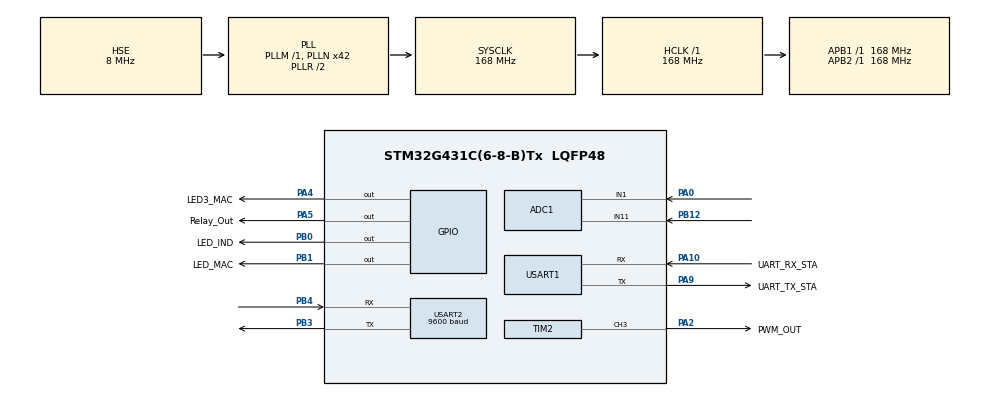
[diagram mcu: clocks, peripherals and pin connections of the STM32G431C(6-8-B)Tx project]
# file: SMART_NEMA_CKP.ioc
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ADC1.Channel-0\#ChannelRegularConversion=ADC_CHANNEL_1
ADC1.Channel-1\#ChannelRegularConversion=ADC_CHANNEL_11
ADC1.NbrOfConversion=2
ADC1.NbrOfConversionFlag=1
ADC1.OffsetNumber-0\#ChannelRegularConversion=ADC_OFFSET_NONE
ADC1.OffsetNumber-1\#ChannelRegularConversion=ADC_OFFSET_NONE
ADC1.Rank-0\#ChannelRegularConversion=1
ADC1.Rank-1\#ChannelRegularConversion=2
ADC1.SamplingTime-0\#ChannelRegularConversion=ADC_SAMPLETIME_47CYCLES_5
ADC1.SamplingTime-1\#ChannelRegularConversion=ADC_SAMPLETIME_92CYCLES_5
ADC1.master=1
Mcu.Family=STM32G4
Mcu.Name=STM32G431C(6-8-B)Tx
Mcu.Package=LQFP48
NVIC.PriorityGroup=NVIC_PRIORITYGROUP_4
NVIC.USART1_IRQn=true\:0\:0\:false\:false\:true\:true\:true\:true
NVIC.USART2_IRQn=true\:0\:0\:false\:false\:true\:true\:true\:true
PA0.Mode=IN1-Single-Ended
PA0.Signal=ADC1_IN1
PA10.GPIO_Label=UART_RX_STA
PA10.Mode=Asynchronous
PA10.Signal=USART1_RX
PA13.Mode=Serial_Wire
PA13.Signal=SYS_JTMS-SWDIO
PA14.Mode=Serial_Wire
PA14.Signal=SYS_JTCK-SWCLK
PA2.GPIO_Label=PWM_OUT
PA2.Signal=S_TIM2_CH3
PA4.GPIO_Label=LED3_MAC
PA4.Signal=GPIO_Output
PA5.GPIO_Label=Relay_Out
PA5.Signal=GPIO_Output
PA9.GPIO_Label=UART_TX_STA
PA9.Mode=Asynchronous
PA9.Signal=USART1_TX
PB0.GPIO_Label=LED_IND
PB0.Signal=GPIO_Output
PB1.GPIO_Label=LED_MAC
PB1.Signal=GPIO_Output
PB12.Mode=IN11-Single-Ended
PB12.Signal=ADC1_IN11
PB3.Mode=Asynchronous
PB3.Signal=USART2_TX
PB4.Mode=Asynchronous
PB4.Signal=USART2_RX
PF0-OSC_IN.Mode=HSE-External-Oscillator
PF0-OSC_IN.Signal=RCC_OSC_IN
PF1-OSC_OUT.Mode=HSE-External-Oscillator
PF1-OSC_OUT.Signal=RCC_OSC_OUT
ProjectManager.HeapSize=0x200
ProjectManager.StackSize=0x400
ProjectManager.TargetToolchain=STM32CubeIDE
RCC.ADC12Freq_Value=168000000
RCC.AHBFreq_Value=168000000
RCC.APB1Freq_Value=168000000
RCC.APB1TimFreq_Value=168000000
RCC.APB2Freq_Value=168000000
RCC.APB2TimFreq_Value=168000000
RCC.CortexFreq_Value=168000000
RCC.EXTERNAL_CLOCK_VALUE=12288000
RCC.HCLKFreq_Value=168000000
RCC.HSE_VALUE=8000000
RCC.HSI48_VALUE=48000000
RCC.HSI_VALUE=16000000
RCC.LSE_VALUE=32768
RCC.PLLN=42
RCC.PLLSourceVirtual=RCC_PLLSOURCE_HSE
RCC.SYSCLKFreq_VALUE=168000000
RCC.SYSCLKSource=RCC_SYSCLKSOURCE_PLLCLK
RCC.USBFreq_Value=168000000
RCC.VCOOutputFreq_Value=336000000
SH.S_TIM2_CH3.0=TIM2_CH3,PWM Generation3 CH3
TIM2.Channel-PWM\ Generation3\ CH3=TIM_CHANNEL_3
TIM2.PeriodNoDither=15999
USART1.Parity=PARITY_EVEN
USART1.VirtualMode-Asynchronous=VM_ASYNC
USART1.WordLength=WORDLENGTH_9B
USART2.BaudRate=9600
USART2.Parity=PARITY_NONE
USART2.VirtualMode-Asynchronous=VM_ASYNC
VP_SYS_VS_DBSignals.Mode=DisableDeadBatterySignals
VP_TIM2_VS_ClockSourceINT.Mode=Internal
board=custom

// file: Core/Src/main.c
/* USER CODE BEGIN Header */
/**
  ******************************************************************************
  * @file           : main.c
  * @brief          : Main program body
  ******************************************************************************
  * @attention
  *
  * Copyright (c) 2026 STMicroelectronics.
  * All rights reserved.
  *
  * This software is licensed under terms that can be found in the LICENSE file
  * in the root directory of this software component.
  * If no LICENSE file comes with this software, it is provided AS-IS.
  *
  ******************************************************************************
  */
/* USER CODE END Header */
#include "main.h"

/* USER CODE BEGIN Includes */
#include "function.h"
#include <string.h>
#include "stdint.h"
#include "stdio.h"
#include "stdbool.h"
/* USER CODE END Includes */

ADC_HandleTypeDef hadc1;

TIM_HandleTypeDef htim2;

UART_HandleTypeDef huart1;
UART_HandleTypeDef huart2;

void SystemClock_Config(void);
static void MX_GPIO_Init(void);
static void MX_USART2_UART_Init(void);
static void MX_USART1_UART_Init(void);
static void MX_TIM2_Init(void);
static void MX_ADC1_Init(void);

int main(void)
{

  /* MCU Configuration--------------------------------------------------------*/

  /* Reset of all peripherals, Initializes the Flash interface and the Systick. */
  HAL_Init();

  /* Configure the system clock */
  SystemClock_Config();

  /* Initialize all configured peripherals */
  MX_GPIO_Init();
  MX_USART2_UART_Init();
  MX_USART1_UART_Init();
  MX_TIM2_Init();
  MX_ADC1_Init();
  /* USER CODE BEGIN 2 */
  UART_ConfigurePriorities();
  HAL_TIM_PWM_Start(&htim2, TIM_CHANNEL_3);
  UART1_StartUart();
  UART_GPS_Init();
  HAL_ADCEx_Calibration_Start(&hadc1, ADC_SINGLE_ENDED);
  HAL_Delay(10);
  blinkLED(LED3_MAC_Port, LED3_MAC_Pin, 3, 200);
  HAL_Delay(1500);
  CT_CalculateOffset();  // dipindah ke sini agar C3 10uF sudah settle (~2.7s setelah boot)
  UART_STA_SendRaw("+++");
  HAL_Delay(2000);
  bool mac_status_cco = Get_CCO_Mac();  // Coba 3x
    if (mac_status_cco) {
        // Berhasil dapat MAC
    	bool mac_status = Save_Mac();
    	if (mac_status){
            HAL_GPIO_TogglePin(LED3_MAC_Port, LED3_MAC_Pin);
            HAL_Delay(100);
    	} else {
            // Gagal dapat MAC setelah 3x percobaan
            blinkLED(LED_IND_Port, LED_IND_Pin, 3, 100);
        }
    } else {
        // Gagal dapat MAC setelah 3x percobaan
    	bool mac_status = Save_Mac();
        blinkLED(LED_IND_Port, LED_IND_Pin, 3, 100);
    }
  HAL_Delay(300);
  /* USER CODE END 2 */

  /* Infinite loop */
  /* USER CODE BEGIN WHILE */
  while (1)
  {
	  ProcessRecv();
      Set_PWM1_Duty(dutytest);
      GPS_ProcessData(true);
//      VAC_Read();
      Sensor_ReadAll();
      Sensor_Update();
    /* USER CODE END WHILE */

  }
}

void SystemClock_Config(void)
{
  RCC_OscInitTypeDef RCC_OscInitStruct = {0};
  RCC_ClkInitTypeDef RCC_ClkInitStruct = {0};

  /** Configure the main internal regulator output voltage
  */
  HAL_PWREx_ControlVoltageScaling(PWR_REGULATOR_VOLTAGE_SCALE1_BOOST);

  /** Initializes the RCC Oscillators according to the specified parameters
  * in the RCC_OscInitTypeDef structure.
  */
  RCC_OscInitStruct.OscillatorType = RCC_OSCILLATORTYPE_HSE;
  RCC_OscInitStruct.HSEState = RCC_HSE_ON;
  RCC_OscInitStruct.PLL.PLLState = RCC_PLL_ON;
  RCC_OscInitStruct.PLL.PLLSource = RCC_PLLSOURCE_HSE;
  RCC_OscInitStruct.PLL.PLLM = RCC_PLLM_DIV1;
  RCC_OscInitStruct.PLL.PLLN = 42;
  RCC_OscInitStruct.PLL.PLLP = RCC_PLLP_DIV2;
  RCC_OscInitStruct.PLL.PLLQ = RCC_PLLQ_DIV2;
  RCC_OscInitStruct.PLL.PLLR = RCC_PLLR_DIV2;
  if (HAL_RCC_OscConfig(&RCC_OscInitStruct) != HAL_OK)
  {
    Error_Handler();
  }

  /** Initializes the CPU, AHB and APB buses clocks
  */
  RCC_ClkInitStruct.ClockType = RCC_CLOCKTYPE_HCLK|RCC_CLOCKTYPE_SYSCLK
                              |RCC_CLOCKTYPE_PCLK1|RCC_CLOCKTYPE_PCLK2;
  RCC_ClkInitStruct.SYSCLKSource = RCC_SYSCLKSOURCE_PLLCLK;
  RCC_ClkInitStruct.AHBCLKDivider = RCC_SYSCLK_DIV1;
  RCC_ClkInitStruct.APB1CLKDivider = RCC_HCLK_DIV1;
  RCC_ClkInitStruct.APB2CLKDivider = RCC_HCLK_DIV1;

  if (HAL_RCC_ClockConfig(&RCC_ClkInitStruct, FLASH_LATENCY_4) != HAL_OK)
  {
    Error_Handler();
  }
}

static void MX_ADC1_Init(void)
{

  ADC_MultiModeTypeDef multimode = {0};
  ADC_ChannelConfTypeDef sConfig = {0};

  /** Common config
  */
  hadc1.Instance = ADC1;
  hadc1.Init.ClockPrescaler = ADC_CLOCK_SYNC_PCLK_DIV4;
  hadc1.Init.Resolution = ADC_RESOLUTION_12B;
  hadc1.Init.DataAlign = ADC_DATAALIGN_RIGHT;
  hadc1.Init.GainCompensation = 0;
  hadc1.Init.ScanConvMode = ADC_SCAN_ENABLE;
  hadc1.Init.EOCSelection = ADC_EOC_SINGLE_CONV;
  hadc1.Init.LowPowerAutoWait = DISABLE;
  hadc1.Init.ContinuousConvMode = DISABLE;
  hadc1.Init.NbrOfConversion = 2;
  hadc1.Init.DiscontinuousConvMode = DISABLE;
  hadc1.Init.ExternalTrigConv = ADC_SOFTWARE_START;
  hadc1.Init.ExternalTrigConvEdge = ADC_EXTERNALTRIGCONVEDGE_NONE;
  hadc1.Init.DMAContinuousRequests = DISABLE;
  hadc1.Init.Overrun = ADC_OVR_DATA_PRESERVED;
  hadc1.Init.OversamplingMode = DISABLE;
  if (HAL_ADC_Init(&hadc1) != HAL_OK)
  {
    Error_Handler();
  }

  /** Configure the ADC multi-mode
  */
  multimode.Mode = ADC_MODE_INDEPENDENT;
  if (HAL_ADCEx_MultiModeConfigChannel(&hadc1, &multimode) != HAL_OK)
  {
    Error_Handler();
  }

  /** Configure Regular Channel
  */
  sConfig.Channel = ADC_CHANNEL_1;
  sConfig.Rank = ADC_REGULAR_RANK_1;
  sConfig.SamplingTime = ADC_SAMPLETIME_47CYCLES_5;
  sConfig.SingleDiff = ADC_SINGLE_ENDED;
  sConfig.OffsetNumber = ADC_OFFSET_NONE;
  sConfig.Offset = 0;
  if (HAL_ADC_ConfigChannel(&hadc1, &sConfig) != HAL_OK)
  {
    Error_Handler();
  }

  /** Configure Regular Channel
  */
  sConfig.Channel = ADC_CHANNEL_11;
  sConfig.Rank = ADC_REGULAR_RANK_2;
  sConfig.SamplingTime = ADC_SAMPLETIME_92CYCLES_5;
  if (HAL_ADC_ConfigChannel(&hadc1, &sConfig) != HAL_OK)
  {
    Error_Handler();
  }

}

static void MX_TIM2_Init(void)
{

  TIM_ClockConfigTypeDef sClockSourceConfig = {0};
  TIM_MasterConfigTypeDef sMasterConfig = {0};
  TIM_OC_InitTypeDef sConfigOC = {0};

  htim2.Instance = TIM2;
  htim2.Init.Prescaler = 0;
  htim2.Init.CounterMode = TIM_COUNTERMODE_UP;
  htim2.Init.Period = 15999;
  htim2.Init.ClockDivision = TIM_CLOCKDIVISION_DIV1;
  htim2.Init.AutoReloadPreload = TIM_AUTORELOAD_PRELOAD_DISABLE;
  if (HAL_TIM_Base_Init(&htim2) != HAL_OK)
  {
    Error_Handler();
  }
  sClockSourceConfig.ClockSource = TIM_CLOCKSOURCE_INTERNAL;
  if (HAL_TIM_ConfigClockSource(&htim2, &sClockSourceConfig) != HAL_OK)
  {
    Error_Handler();
  }
  if (HAL_TIM_PWM_Init(&htim2) != HAL_OK)
  {
    Error_Handler();
  }
  sMasterConfig.MasterOutputTrigger = TIM_TRGO_RESET;
  sMasterConfig.MasterSlaveMode = TIM_MASTERSLAVEMODE_DISABLE;
  if (HAL_TIMEx_MasterConfigSynchronization(&htim2, &sMasterConfig) != HAL_OK)
  {
    Error_Handler();
  }
  sConfigOC.OCMode = TIM_OCMODE_PWM1;
  sConfigOC.Pulse = 0;
  sConfigOC.OCPolarity = TIM_OCPOLARITY_HIGH;
  sConfigOC.OCFastMode = TIM_OCFAST_DISABLE;
  if (HAL_TIM_PWM_ConfigChannel(&htim2, &sConfigOC, TIM_CHANNEL_3) != HAL_OK)
  {
    Error_Handler();
  }
  HAL_TIM_MspPostInit(&htim2);

}

static void MX_USART1_UART_Init(void)
{

  huart1.Instance = USART1;
  huart1.Init.BaudRate = 115200;
  huart1.Init.WordLength = UART_WORDLENGTH_9B;
  huart1.Init.StopBits = UART_STOPBITS_1;
  huart1.Init.Parity = UART_PARITY_EVEN;
  huart1.Init.Mode = UART_MODE_TX_RX;
  huart1.Init.HwFlowCtl = UART_HWCONTROL_NONE;
  huart1.Init.OverSampling = UART_OVERSAMPLING_16;
  huart1.Init.OneBitSampling = UART_ONE_BIT_SAMPLE_DISABLE;
  huart1.Init.ClockPrescaler = UART_PRESCALER_DIV1;
  huart1.AdvancedInit.AdvFeatureInit = UART_ADVFEATURE_NO_INIT;
  if (HAL_UART_Init(&huart1) != HAL_OK)
  {
    Error_Handler();
  }
  if (HAL_UARTEx_SetTxFifoThreshold(&huart1, UART_TXFIFO_THRESHOLD_1_8) != HAL_OK)
  {
    Error_Handler();
  }
  if (HAL_UARTEx_SetRxFifoThreshold(&huart1, UART_RXFIFO_THRESHOLD_1_8) != HAL_OK)
  {
    Error_Handler();
  }
  if (HAL_UARTEx_DisableFifoMode(&huart1) != HAL_OK)
  {
    Error_Handler();
  }

}

static void MX_USART2_UART_Init(void)
{

  huart2.Instance = USART2;
  huart2.Init.BaudRate = 9600;
  huart2.Init.WordLength = UART_WORDLENGTH_8B;
  huart2.Init.StopBits = UART_STOPBITS_1;
  huart2.Init.Parity = UART_PARITY_NONE;
  huart2.Init.Mode = UART_MODE_TX_RX;
  huart2.Init.HwFlowCtl = UART_HWCONTROL_NONE;
  huart2.Init.OverSampling = UART_OVERSAMPLING_16;
  huart2.Init.OneBitSampling = UART_ONE_BIT_SAMPLE_DISABLE;
  huart2.Init.ClockPrescaler = UART_PRESCALER_DIV1;
  huart2.AdvancedInit.AdvFeatureInit = UART_ADVFEATURE_NO_INIT;
  if (HAL_UART_Init(&huart2) != HAL_OK)
  {
    Error_Handler();
  }
  if (HAL_UARTEx_SetTxFifoThreshold(&huart2, UART_TXFIFO_THRESHOLD_1_8) != HAL_OK)
  {
    Error_Handler();
  }
  if (HAL_UARTEx_SetRxFifoThreshold(&huart2, UART_RXFIFO_THRESHOLD_1_8) != HAL_OK)
  {
    Error_Handler();
  }
  if (HAL_UARTEx_DisableFifoMode(&huart2) != HAL_OK)
  {
    Error_Handler();
  }

}

static void MX_GPIO_Init(void)
{
  GPIO_InitTypeDef GPIO_InitStruct = {0};

  /* GPIO Ports Clock Enable */
  __HAL_RCC_GPIOF_CLK_ENABLE();
  __HAL_RCC_GPIOA_CLK_ENABLE();
  __HAL_RCC_GPIOB_CLK_ENABLE();

  /*Configure GPIO pin Output Level */
  HAL_GPIO_WritePin(GPIOA, LED3_MAC_Pin|Relay_Out_Pin, GPIO_PIN_RESET);

  /*Configure GPIO pin Output Level */
  HAL_GPIO_WritePin(GPIOB, LED_IND_Pin|LED_MAC_Pin, GPIO_PIN_RESET);

  /*Configure GPIO pins : LED3_MAC_Pin Relay_Out_Pin */
  GPIO_InitStruct.Pin = LED3_MAC_Pin|Relay_Out_Pin;
  GPIO_InitStruct.Mode = GPIO_MODE_OUTPUT_PP;
  GPIO_InitStruct.Pull = GPIO_NOPULL;
  GPIO_InitStruct.Speed = GPIO_SPEED_FREQ_LOW;
  HAL_GPIO_Init(GPIOA, &GPIO_InitStruct);

  /*Configure GPIO pins : LED_IND_Pin LED_MAC_Pin */
  GPIO_InitStruct.Pin = LED_IND_Pin|LED_MAC_Pin;
  GPIO_InitStruct.Mode = GPIO_MODE_OUTPUT_PP;
  GPIO_InitStruct.Pull = GPIO_NOPULL;
  GPIO_InitStruct.Speed = GPIO_SPEED_FREQ_LOW;
  HAL_GPIO_Init(GPIOB, &GPIO_InitStruct);

}

void Error_Handler(void)
{
  __disable_irq();
  while (1)
  {
  }
}
